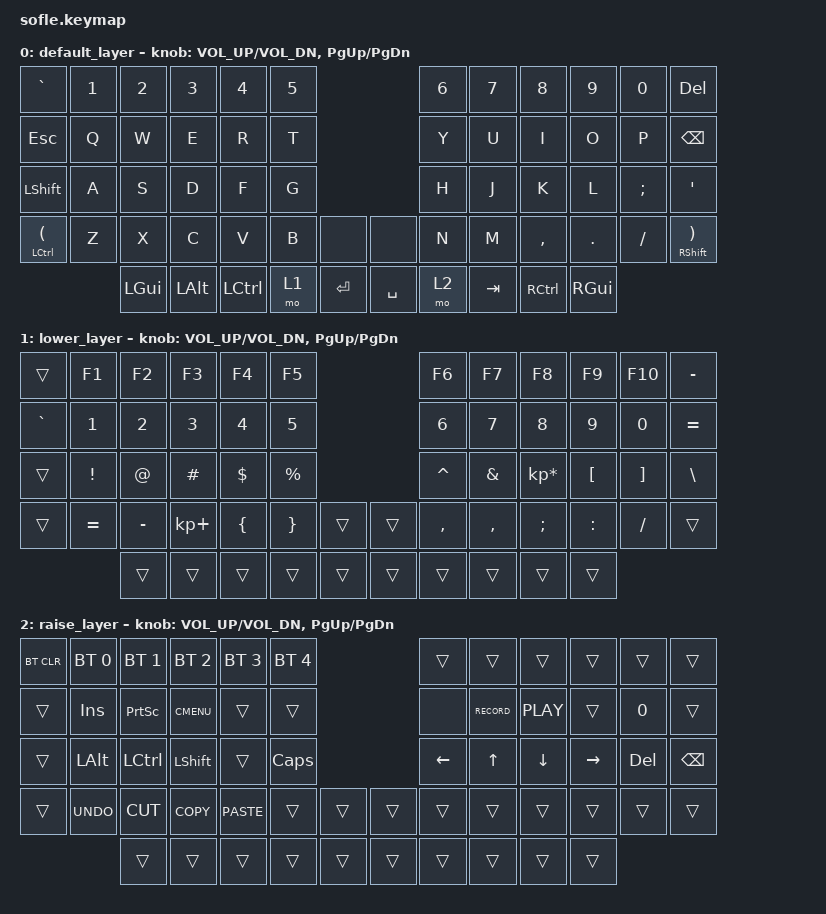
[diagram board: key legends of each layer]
/*
 * Copyright (c) 2020 The ZMK Contributors
 *
 * SPDX-License-Identifier: MIT
 */

#include <behaviors.dtsi>
#include <dt-bindings/zmk/bt.h>
#include <dt-bindings/zmk/keys.h>

/ {
    keymap {
        compatible = "zmk,keymap";

        default_layer {
            // ------------------------------------------------------------------------------------------------------------
            // |  `    |  1  |  2  |  3   |  4   |  5   |                         |  6   |  7    |  8    |  9   |   0   |       |
            // |  ESC  |  Q  |  W  |  E   |  R   |  T   |                         |  Y   |  U    |  I    |  O   |   P   | BKSPC |
            // |  TAB  |  A  |  S  |  D   |  F   |  G   |                         |  H   |  J    |  K    |  L   |   ;   |   '   |
            // | SHIFT |  Z  |  X  |  C   |  V   |  B   |  MUTE  |        | ExtPw |  N   |  M    |  ,    |  .   |   /   | SHIFT |
            //               | GUI | ALT  | CTRL | LOWER|  ENTER |        | SPACE | RAISE| CTRL  | ALT   | GUI  |

            bindings = <
&kp GRAVE                          &kp N1  &kp N2    &kp N3    &kp N4     &kp N5                        &kp N6  &kp N7   &kp N8     &kp N9    &kp N0    &kp DELETE
&kp ESC                            &kp Q   &kp W     &kp E     &kp R      &kp T                         &kp Y   &kp U    &kp I      &kp O     &kp P     &kp BSPC
&kp LEFT_SHIFT                     &kp A   &kp S     &kp D     &kp F      &kp G                         &kp H   &kp J    &kp K      &kp L     &kp SEMI  &kp SQT
&mt LEFT_CONTROL LEFT_PARENTHESIS  &kp Z   &kp X     &kp C     &kp V      &kp B   &none      &none      &kp N   &kp M    &kp COMMA  &kp DOT   &kp FSLH  &mt RIGHT_SHIFT RIGHT_PARENTHESIS
                                           &kp LGUI  &kp LALT  &kp LCTRL  &mo 1   &kp RET    &kp SPACE  &mo 2   &kp TAB  &kp RCTRL  &kp RGUI
            >;

            sensor-bindings = <&inc_dec_kp C_VOL_UP C_VOL_DN &inc_dec_kp PG_UP PG_DN>;
        };

        lower_layer {
            // TODO: Some binds are waiting for shifted keycode support.
            // ------------------------------------------------------------------------------------------------------------
            // |       |  F1 |  F2 |  F3  |  F4  |  F5  |                   |  F6  |  F7   |  F8   |  F9  |  F10  |  F11  |
            // | `     |   1 |   2 |   3  |   4  |   5  |                   |   6  |   7   |   8   |   9  |    0  |  F12  |
            // |       |  !  |  @  |  #   |  $   |  %   |                   |  ^   |  &    |  *    |  (   |   )   |   |   |
            // |       |  =  |  -  |  +   |  {   |  }   |        |  |       |  [   |  ]    |  ;    |  :   |   \   |       |
            //               |     |      |      |      |        |  |       |      |       |       |      |

            bindings = <
&trans     &kp F1     &kp F2     &kp F3       &kp F4    &kp F5                       &kp F6     &kp F7     &kp F8           &kp F9            &kp F10            &kp MINUS
&kp GRAVE  &kp N1     &kp N2     &kp N3       &kp N4    &kp N5                       &kp N6     &kp N7     &kp N8           &kp N9            &kp N0             &kp EQUAL
&trans     &kp EXCL   &kp AT     &kp HASH     &kp DLLR  &kp PRCNT                    &kp CARET  &kp AMPS   &kp KP_MULTIPLY  &kp LEFT_BRACKET  &kp RIGHT_BRACKET  &kp BACKSLASH
&trans     &kp EQUAL  &kp MINUS  &kp KP_PLUS  &kp LBRC  &kp RBRC   &trans    &trans  &kp COMMA  &kp COMMA  &kp SEMI         &kp COLON         &kp SLASH          &trans
                      &trans     &trans       &trans    &trans     &trans    &trans  &trans     &trans     &trans           &trans
            >;

            sensor-bindings = <&inc_dec_kp C_VOL_UP C_VOL_DN &inc_dec_kp PG_UP PG_DN>;
        };

        raise_layer {
            // ------------------------------------------------------------------------------------------------------------
            // |BTCLR| BT1  | BT2  |  BT3  |  BT4  |  BT5 |                |      |      |       |      |       |       |
            // |     | INS  | PSCR | GUI   |       |      |                | PGUP |      |   ^   |      |       |       |
            // |     | ALT  | CTRL | SHIFT |       | CAPS |                | PGDN |   <- |   v   |  ->  |  DEL  | BKSPC |
            // |     | UNDO | CUT  | COPY  | PASTE |      |      |  |      |      |      |       |      |       |       |
            //              |      |       |       |      |      |  |      |      |      |       |      |

            bindings = <
&bt BT_CLR  &bt BT_SEL 0  &bt BT_SEL 1  &bt BT_SEL 2  &bt BT_SEL 3  &bt BT_SEL 4                    &trans    &trans        &trans      &trans     &trans   &trans
&trans      &kp INS       &kp PSCRN     &kp K_CMENU   &trans        &trans                          &none     &kp C_RECORD  &kp C_PLAY  &trans     &kp N0   &trans
&trans      &kp LALT      &kp LCTRL     &kp LSHFT     &trans        &kp CLCK                        &kp LEFT  &kp UP        &kp DOWN    &kp RIGHT  &kp DEL  &kp BSPC
&trans      &kp K_UNDO    &kp K_CUT     &kp K_COPY    &kp K_PASTE   &trans        &trans    &trans  &trans    &trans        &trans      &trans     &trans   &trans
                          &trans        &trans        &trans        &trans        &trans    &trans  &trans    &trans        &trans      &trans
            >;

            sensor-bindings = <&inc_dec_kp C_VOL_UP C_VOL_DN &inc_dec_kp PG_UP PG_DN>;
        };
    };
};
